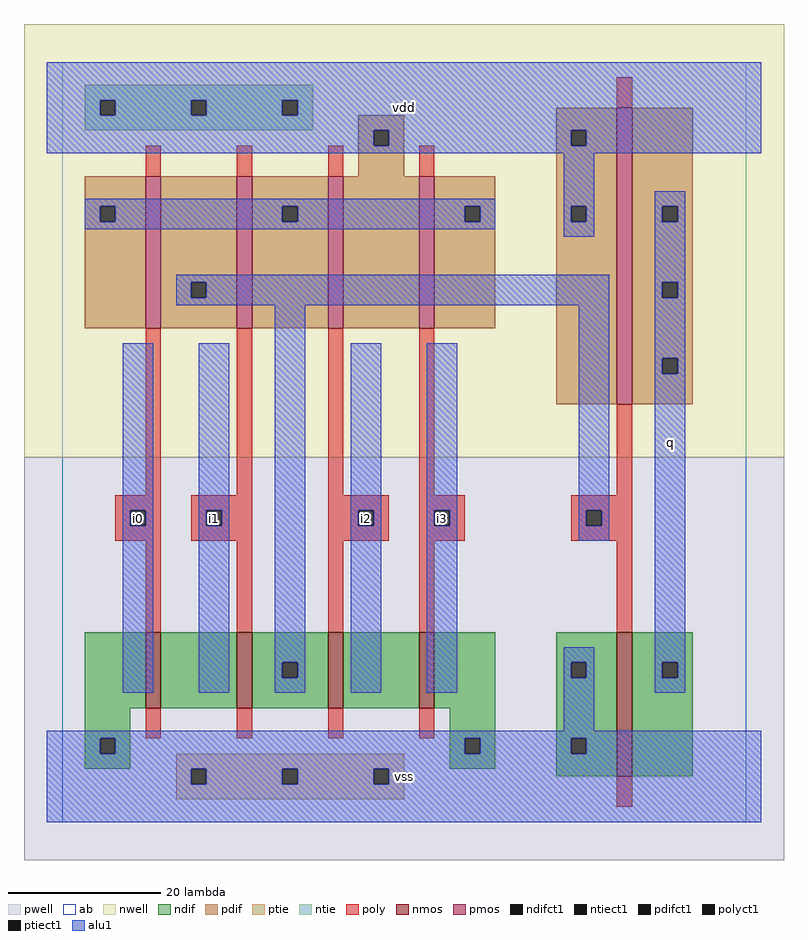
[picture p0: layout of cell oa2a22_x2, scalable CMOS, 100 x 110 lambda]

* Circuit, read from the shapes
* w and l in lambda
.subckt oa2a22_x2 i0 i1 i2 i3 q vdd vss
M1 n1 i0 vss vss nfet w=10 l=2
M2 n2 i1 n1 vss nfet w=10 l=2
M3 n3 i2 n2 vss nfet w=10 l=2
M4 vss i3 n3 vss nfet w=10 l=2
M5 q n2 vss vss nfet w=19 l=2
M6 n2 i0 n4 vdd pfet w=20 l=2
M7 n4 i1 n2 vdd pfet w=20 l=2
M8 vdd i2 n4 vdd pfet w=20 l=2
M9 n4 i3 vdd vdd pfet w=20 l=2
M10 q n2 vdd vdd pfet w=39 l=2
.ends

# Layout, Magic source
magic
tech scmos
<< ab >>
rect 0 0 90 100
<< nwell >>
rect -5 48 95 105
<< pwell >>
rect -5 -5 95 48
<< poly >>
rect 73 94 75 98
rect 11 85 13 89
rect 23 85 25 89
rect 35 85 37 89
rect 47 85 49 89
rect 11 43 13 65
rect 23 43 25 65
rect 7 41 13 43
rect 7 39 9 41
rect 11 39 13 41
rect 7 37 13 39
rect 17 41 25 43
rect 17 39 19 41
rect 21 39 25 41
rect 17 37 25 39
rect 11 25 13 37
rect 23 25 25 37
rect 35 43 37 65
rect 47 43 49 65
rect 73 43 75 55
rect 35 41 43 43
rect 35 39 39 41
rect 41 39 43 41
rect 35 37 43 39
rect 47 41 53 43
rect 47 39 49 41
rect 51 39 53 41
rect 47 37 53 39
rect 67 41 75 43
rect 67 39 69 41
rect 71 39 75 41
rect 67 37 75 39
rect 35 25 37 37
rect 47 25 49 37
rect 73 25 75 37
rect 11 11 13 15
rect 23 11 25 15
rect 35 11 37 15
rect 47 11 49 15
rect 73 2 75 6
<< ndif >>
rect 3 15 11 25
rect 13 15 23 25
rect 25 21 35 25
rect 25 19 29 21
rect 31 19 35 21
rect 25 15 35 19
rect 37 15 47 25
rect 49 15 57 25
rect 3 11 9 15
rect 51 11 57 15
rect 3 9 5 11
rect 7 9 9 11
rect 51 9 53 11
rect 55 9 57 11
rect 3 7 9 9
rect 51 7 57 9
rect 65 21 73 25
rect 65 19 67 21
rect 69 19 73 21
rect 65 11 73 19
rect 65 9 67 11
rect 69 9 73 11
rect 65 6 73 9
rect 75 21 83 25
rect 75 19 79 21
rect 81 19 83 21
rect 75 6 83 19
<< pdif >>
rect 39 91 45 93
rect 39 89 41 91
rect 43 89 45 91
rect 65 91 73 94
rect 65 89 67 91
rect 69 89 73 91
rect 39 85 45 89
rect 3 81 11 85
rect 3 79 5 81
rect 7 79 11 81
rect 3 65 11 79
rect 13 71 23 85
rect 13 69 17 71
rect 19 69 23 71
rect 13 65 23 69
rect 25 81 35 85
rect 25 79 29 81
rect 31 79 35 81
rect 25 65 35 79
rect 37 65 47 85
rect 49 81 57 85
rect 49 79 53 81
rect 55 79 57 81
rect 49 65 57 79
rect 65 81 73 89
rect 65 79 67 81
rect 69 79 73 81
rect 65 55 73 79
rect 75 81 83 94
rect 75 79 79 81
rect 81 79 83 81
rect 75 71 83 79
rect 75 69 79 71
rect 81 69 83 71
rect 75 61 83 69
rect 75 59 79 61
rect 81 59 83 61
rect 75 55 83 59
<< alu1 >>
rect -2 95 92 100
rect -2 93 5 95
rect 7 93 17 95
rect 19 93 29 95
rect 31 93 92 95
rect -2 91 92 93
rect -2 89 41 91
rect 43 89 67 91
rect 69 89 92 91
rect -2 88 92 89
rect 3 81 57 82
rect 3 79 5 81
rect 7 79 29 81
rect 31 79 53 81
rect 55 79 57 81
rect 3 78 57 79
rect 66 81 70 88
rect 66 79 67 81
rect 69 79 70 81
rect 66 77 70 79
rect 78 81 82 83
rect 78 79 79 81
rect 81 79 82 81
rect 15 71 72 72
rect 15 69 17 71
rect 19 69 72 71
rect 15 68 72 69
rect 8 41 12 63
rect 8 39 9 41
rect 11 39 12 41
rect 8 17 12 39
rect 18 41 22 63
rect 18 39 19 41
rect 21 39 22 41
rect 18 17 22 39
rect 28 21 32 68
rect 28 19 29 21
rect 31 19 32 21
rect 28 17 32 19
rect 38 41 42 63
rect 38 39 39 41
rect 41 39 42 41
rect 38 17 42 39
rect 48 41 52 63
rect 48 39 49 41
rect 51 39 52 41
rect 48 17 52 39
rect 68 41 72 68
rect 68 39 69 41
rect 71 39 72 41
rect 68 37 72 39
rect 78 71 82 79
rect 78 69 79 71
rect 81 69 82 71
rect 78 61 82 69
rect 78 59 79 61
rect 81 59 82 61
rect 66 21 70 23
rect 66 19 67 21
rect 69 19 70 21
rect 66 12 70 19
rect 78 21 82 59
rect 78 19 79 21
rect 81 19 82 21
rect 78 17 82 19
rect -2 11 92 12
rect -2 9 5 11
rect 7 9 53 11
rect 55 9 67 11
rect 69 9 92 11
rect -2 7 92 9
rect -2 5 17 7
rect 19 5 29 7
rect 31 5 41 7
rect 43 5 92 7
rect -2 0 92 5
<< ptie >>
rect 15 7 45 9
rect 15 5 17 7
rect 19 5 29 7
rect 31 5 41 7
rect 43 5 45 7
rect 15 3 45 5
<< ntie >>
rect 3 95 33 97
rect 3 93 5 95
rect 7 93 17 95
rect 19 93 29 95
rect 31 93 33 95
rect 3 91 33 93
<< nmos >>
rect 11 15 13 25
rect 23 15 25 25
rect 35 15 37 25
rect 47 15 49 25
rect 73 6 75 25
<< pmos >>
rect 11 65 13 85
rect 23 65 25 85
rect 35 65 37 85
rect 47 65 49 85
rect 73 55 75 94
<< polyct1 >>
rect 9 39 11 41
rect 19 39 21 41
rect 39 39 41 41
rect 49 39 51 41
rect 69 39 71 41
<< ndifct1 >>
rect 29 19 31 21
rect 5 9 7 11
rect 53 9 55 11
rect 67 19 69 21
rect 67 9 69 11
rect 79 19 81 21
<< ntiect1 >>
rect 5 93 7 95
rect 17 93 19 95
rect 29 93 31 95
<< ptiect1 >>
rect 17 5 19 7
rect 29 5 31 7
rect 41 5 43 7
<< pdifct1 >>
rect 41 89 43 91
rect 67 89 69 91
rect 5 79 7 81
rect 17 69 19 71
rect 29 79 31 81
rect 53 79 55 81
rect 67 79 69 81
rect 79 79 81 81
rect 79 69 81 71
rect 79 59 81 61
<< labels >>
rlabel polyct1 10 40 10 40 6 i0
rlabel polyct1 20 40 20 40 6 i1
rlabel polyct1 40 40 40 40 6 i2
rlabel alu1 45 6 45 6 6 vss
rlabel polyct1 50 40 50 40 6 i3
rlabel alu1 45 94 45 94 6 vdd
rlabel alu1 80 50 80 50 6 q
<< end >>
